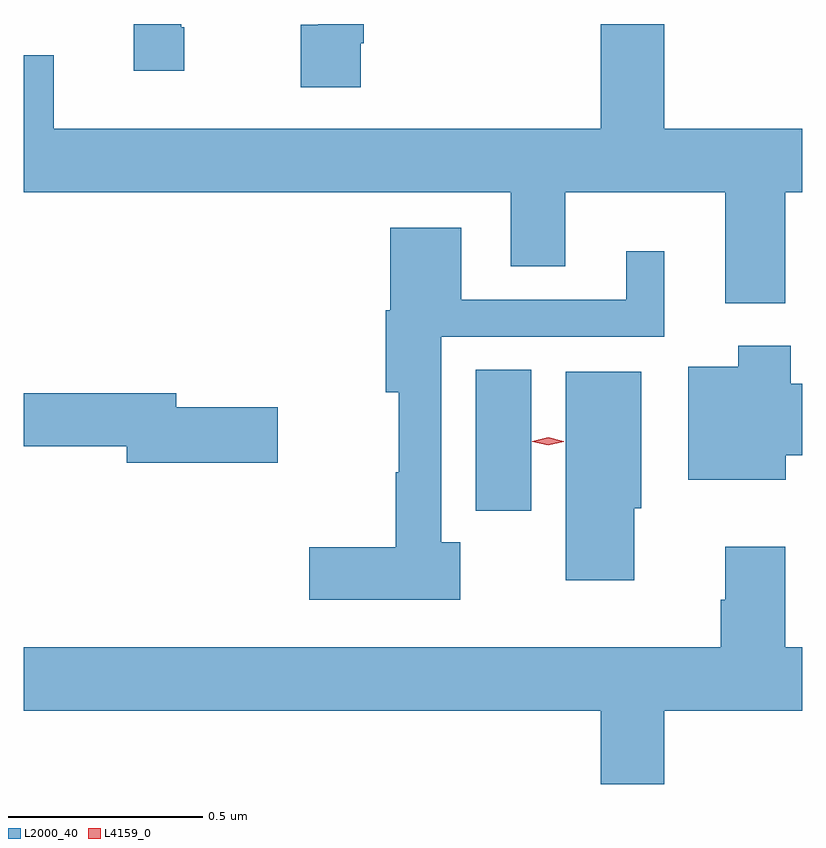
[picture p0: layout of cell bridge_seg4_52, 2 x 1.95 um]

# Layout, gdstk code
import gdstk
lib = gdstk.Library(unit=1e-6, precision=1e-09)
def R(c, l, rs):  # rectangles x0, y0, x1, y1
    for r in rs: c.add(gdstk.rectangle(r[:2], r[2:], *l))
def P(c, l, *ps):  # polygons
    for p in ps: c.add(gdstk.Polygon(p, *l))
L2000_40 = (2000, 40)
L4159_0 = (4159, 0)

bridge_seg4_52 = lib.new_cell('bridge_seg4_52')
R(bridge_seg4_52, L2000_40, [(788.063,830.634,788.206,830.996)])
P(bridge_seg4_52, L2000_40, [(788.858,831.452),(788.902,831.452),(788.902,831.616),(788.548,831.616),(788.548,831.885),(788.384,831.885),(788.384,831.616),(786.979,831.616),(786.979,831.805),(786.902,831.805),(786.902,831.452),(788.153,831.452),(788.153,831.262),(788.293,831.262),(788.293,831.452),(788.705,831.452),(788.705,831.168),(788.858,831.168)],
  [(787.768,831.835),(787.775,831.835),(787.775,831.885),(787.659,831.885),(787.659,831.883),(787.613,831.883),(787.613,831.723),(787.768,831.723)],
  [(787.314,831.877),(787.306,831.877),(787.306,831.885),(787.184,831.885),(787.184,831.765),(787.314,831.765)],
  [(788.023,830.553),(787.974,830.553),(787.974,831.081),(788.548,831.081),(788.548,831.301),(788.45,831.301),(788.45,831.177),(788.026,831.177),(788.026,831.361),(787.844,831.361),(787.844,831.15),(787.832,831.15),(787.832,830.939),(787.866,830.939),(787.866,830.733),(787.858,830.733),(787.858,830.54),(787.635,830.54),(787.635,830.405),(788.023,830.405)],
  [(788.86,830.777),(788.902,830.777),(788.902,830.96),(788.873,830.96),(788.873,831.058),(788.738,831.058),(788.738,831.004),(788.609,831.004),(788.609,830.714),(788.86,830.714)],
  [(788.47,830.64),(788.488,830.64),(788.488,830.992),(788.294,830.992),(788.294,830.456),(788.47,830.456)],
  [(787.555,830.9),(787.294,830.9),(787.294,830.936),(786.902,830.936),(786.902,830.8),(787.166,830.8),(787.166,830.758),(787.555,830.758)],
  [(788.548,830.12),(788.902,830.12),(788.902,830.284),(788.858,830.284),(788.858,830.542),(788.705,830.542),(788.705,830.405),(788.693,830.405),(788.693,830.284),(786.902,830.284),(786.902,830.12),(788.384,830.12),(788.384,829.932),(788.548,829.932)])
P(bridge_seg4_52, L4159_0, [(788.249,830.803),(788.209,830.812),(788.209,830.813),(788.209,830.813),(788.249,830.823),(788.289,830.813),(788.289,830.813),(788.289,830.812)])

lib.write_gds('bridge_seg4_52.gds')
